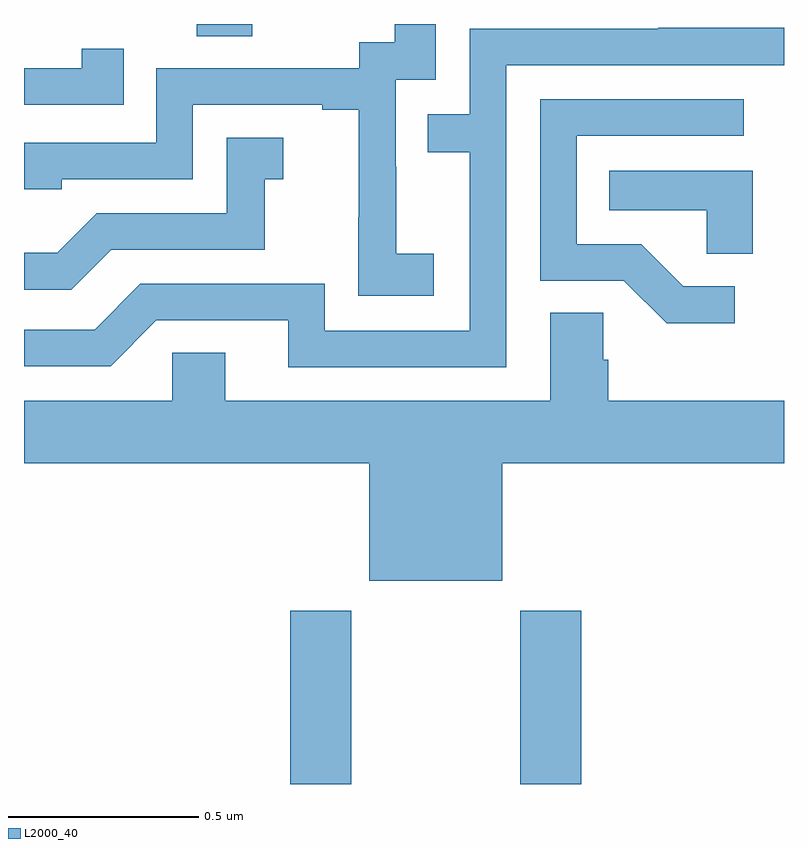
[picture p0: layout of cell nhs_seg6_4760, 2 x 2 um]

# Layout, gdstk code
import gdstk
lib = gdstk.Library(unit=1e-6, precision=1e-09)
def R(c, l, rs):  # rectangles x0, y0, x1, y1
    for r in rs: c.add(gdstk.rectangle(r[:2], r[2:], *l))
def P(c, l, *ps):  # polygons
    for p in ps: c.add(gdstk.Polygon(p, *l))
L2000_40 = (2000, 40)

nhs_seg6_4760 = lib.new_cell('nhs_seg6_4760')
R(nhs_seg6_4760, L2000_40, [(174.701,938.5,174.861,938.956), (175.306,938.5,175.466,938.956), (174.454,940.468,174.601,940.5)])
P(nhs_seg6_4760, L2000_40, [(175.078,939.895),(174.98,939.895),(174.98,940.124),(174.978,940.124),(174.978,940.353),(175.083,940.353),(175.083,940.5),(174.975,940.5),(174.975,940.452),(174.882,940.452),(174.882,940.383),(174.348,940.383),(174.348,940.188),(174,940.188),(174,940.065),(174.099,940.065),(174.099,940.092),(174.444,940.092),(174.444,940.287),(174.785,940.287),(174.785,940.275),(174.881,940.275),(174.881,939.991),(174.88,939.991),(174.88,939.785),(175.078,939.785)],
  [(175.269,940.392),(176,940.392),(176,940.49),(175.669,940.49),(175.669,940.488),(175.173,940.488),(175.173,940.263),(175.063,940.263),(175.063,940.162),(175.173,940.162),(175.173,939.693),(174.792,939.693),(174.792,939.816),(174.306,939.816),(174.186,939.696),(174,939.696),(174,939.6),(174.228,939.6),(174.348,939.72),(174.695,939.72),(174.695,939.597),(175.269,939.597)],
  [(174.263,940.435),(174.152,940.435),(174.152,940.383),(174,940.383),(174,940.287),(174.263,940.287)],
  [(175.87,939.81),(175.735,939.81),(175.624,939.921),(175.455,939.921),(175.455,940.206),(175.894,940.206),(175.894,940.302),(175.359,940.302),(175.359,939.825),(175.578,939.825),(175.691,939.713),(175.87,939.713)],
  [(174.229,939.906),(174.633,939.906),(174.633,940.091),(174.682,940.091),(174.682,940.201),(174.534,940.201),(174.534,940.002),(174.192,940.002),(174.088,939.898),(174,939.898),(174,939.801),(174.124,939.801)],
  [(175.918,940.114),(175.54,940.114),(175.54,940.01),(175.797,940.01),(175.797,939.895),(175.918,939.895)],
  [(175.258,939.344),(176,939.344),(176,939.508),(175.538,939.508),(175.538,939.617),(175.524,939.617),(175.524,939.74),(175.385,939.74),(175.385,939.508),(174.529,939.508),(174.529,939.635),(174.39,939.635),(174.39,939.508),(174,939.508),(174,939.344),(174.908,939.344),(174.908,939.035),(175.258,939.035)])

lib.write_gds('nhs_seg6_4760.gds')
